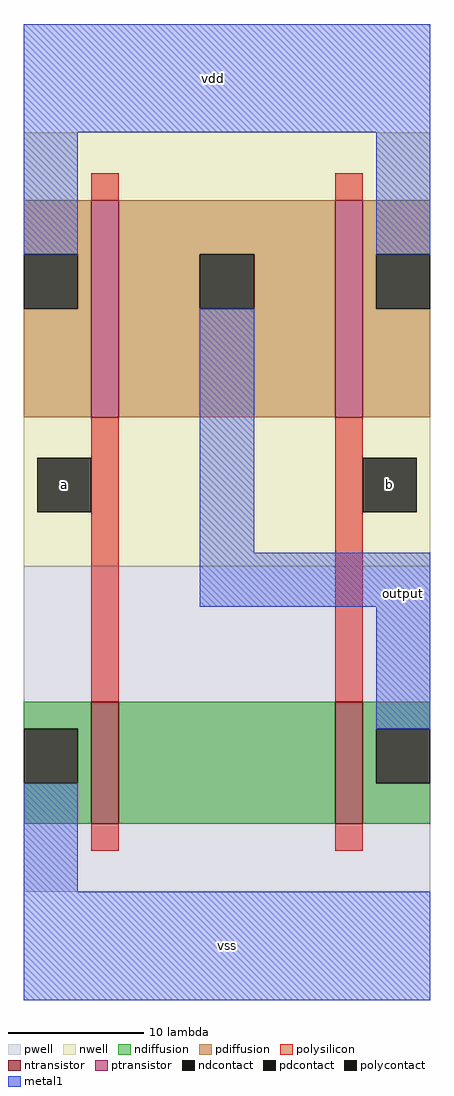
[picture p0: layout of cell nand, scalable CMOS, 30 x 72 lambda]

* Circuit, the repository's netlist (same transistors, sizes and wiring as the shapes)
* SPICE3 file created from nand.ext - technology: scmos

.include ./t14y_tsmc_025_level3.txt
.option scale=1u

M1000 output a vdd vdd cmosp w=16 l=2
+  ad=256 pd=64 as=160 ps=84
M1001 vdd b output vdd cmosp w=16 l=2
+  ad=0 pd=0 as=0 ps=0
M1002 in a vss 0 cmosn w=9 l=2
+  ad=144 pd=50 as=45 ps=28
M1003 output b in 0 cmosn w=9 l=2
+  ad=45 pd=28 as=0 ps=0
* C0 0 a 3.34fF
* C1 vdd a 4.84fF
* C2 0 b 3.34fF
* C3 output 0 3.43fF
* C4 vdd b 4.84fF
* C5 output vdd 2.58fF
* C6 vss 0 11.28fF
* C7 vdd 0 11.28fF

v_dd vdd 0 5
v_ss vss 0 0
v_a a 0 PULSE(0 5 0 0 0 20n 40n)
v_b b 0 PULSE(0 5 0 0 0 40n 80n)

.control
        tran 0.01n 80n
        setplot tran1
        plot a b output
.endc
.end

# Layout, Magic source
magic
tech scmos
<< pwell >>
rect 0 8 30 32
<< nwell >>
rect 0 32 30 64
<< polysilicon >>
rect 5 59 7 61
rect 23 59 25 61
rect 5 22 7 43
rect 23 22 25 43
rect 5 11 7 13
rect 23 11 25 13
<< ndiffusion >>
rect 0 20 5 22
rect 4 16 5 20
rect 0 13 5 16
rect 7 13 23 22
rect 25 20 30 22
rect 25 16 26 20
rect 25 13 30 16
<< pdiffusion >>
rect 0 55 5 59
rect 4 51 5 55
rect 0 43 5 51
rect 7 55 23 59
rect 7 51 13 55
rect 17 51 23 55
rect 7 43 23 51
rect 25 55 30 59
rect 25 51 26 55
rect 25 43 30 51
<< metal1 >>
rect 0 64 30 72
rect 0 55 4 64
rect 26 55 30 64
rect 13 33 17 51
rect 13 29 30 33
rect 26 20 30 29
rect 0 8 4 16
rect 0 0 30 8
<< ntransistor >>
rect 5 13 7 22
rect 23 13 25 22
<< ptransistor >>
rect 5 43 7 59
rect 23 43 25 59
<< polycontact >>
rect 1 36 5 40
rect 25 36 29 40
<< ndcontact >>
rect 0 16 4 20
rect 26 16 30 20
<< pdcontact >>
rect 0 51 4 55
rect 13 51 17 55
rect 26 51 30 55
<< labels >>
rlabel metal1 14 68 14 68 1 vdd
rlabel polycontact 3 38 3 38 1 a
rlabel polycontact 27 38 27 38 1 b
rlabel metal1 28 30 28 30 3 output
rlabel metal1 15 4 15 4 5 vss
<< end >>
